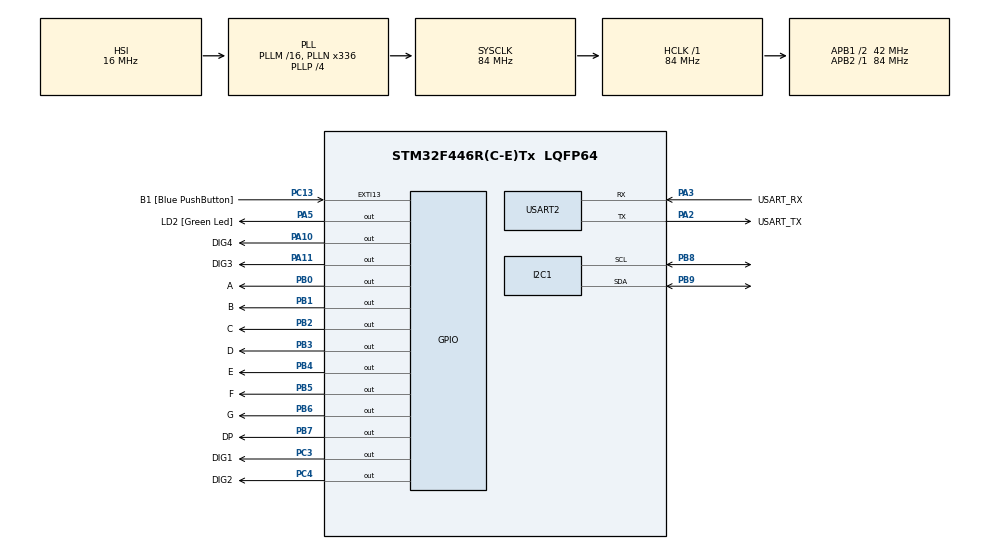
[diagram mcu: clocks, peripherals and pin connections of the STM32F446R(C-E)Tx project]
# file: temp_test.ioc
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Mcu.Family=STM32F4
Mcu.Name=STM32F446R(C-E)Tx
Mcu.Package=LQFP64
NVIC.PriorityGroup=NVIC_PRIORITYGROUP_0
PA10.GPIO_Label=DIG4
PA10.Signal=GPIO_Output
PA11.GPIO_Label=DIG3
PA11.Signal=GPIO_Output
PA13.GPIO_Label=TMS
PA13.Mode=Serial_Wire
PA13.Signal=SYS_JTMS-SWDIO
PA14.GPIO_Label=TCK
PA14.Mode=Serial_Wire
PA14.Signal=SYS_JTCK-SWCLK
PA2.GPIO_Label=USART_TX
PA2.Mode=Asynchronous
PA2.Signal=USART2_TX
PA3.GPIO_Label=USART_RX
PA3.Mode=Asynchronous
PA3.Signal=USART2_RX
PA5.GPIO_Label=LD2 [Green Led]
PA5.Signal=GPIO_Output
PB0.GPIO_Label=A
PB0.Signal=GPIO_Output
PB1.GPIO_Label=B
PB1.Signal=GPIO_Output
PB2.GPIO_Label=C
PB2.Signal=GPIO_Output
PB3.GPIO_Label=D
PB3.Signal=GPIO_Output
PB4.GPIO_Label=E
PB4.Signal=GPIO_Output
PB5.GPIO_Label=F
PB5.Signal=GPIO_Output
PB6.GPIO_Label=G
PB6.Signal=GPIO_Output
PB7.GPIO_Label=DP
PB7.Signal=GPIO_Output
PB8.Mode=I2C
PB8.Signal=I2C1_SCL
PB9.Mode=I2C
PB9.Signal=I2C1_SDA
PC13.GPIO_Label=B1 [Blue PushButton]
PC13.GPIO_ModeDefaultEXTI=GPIO_MODE_IT_FALLING
PC13.Signal=GPXTI13
PC14-OSC32_IN.Mode=LSE-External-Oscillator
PC14-OSC32_IN.Signal=RCC_OSC32_IN
PC15-OSC32_OUT.Mode=LSE-External-Oscillator
PC15-OSC32_OUT.Signal=RCC_OSC32_OUT
PC3.GPIO_Label=DIG1
PC3.Signal=GPIO_Output
PC4.GPIO_Label=DIG2
PC4.Signal=GPIO_Output
PH0-OSC_IN.Mode=HSE-External-Oscillator
PH0-OSC_IN.Signal=RCC_OSC_IN
PH1-OSC_OUT.Mode=HSE-External-Oscillator
PH1-OSC_OUT.Signal=RCC_OSC_OUT
ProjectManager.HeapSize=0x200
ProjectManager.StackSize=0x400
ProjectManager.TargetToolchain=STM32CubeIDE
RCC.48MHZClocksFreq_Value=84000000
RCC.AHBFreq_Value=84000000
RCC.APB1CLKDivider=RCC_HCLK_DIV2
RCC.APB1Freq_Value=42000000
RCC.APB1TimFreq_Value=84000000
RCC.APB2Freq_Value=84000000
RCC.APB2TimFreq_Value=84000000
RCC.CortexFreq_Value=84000000
RCC.FLatency-AdvancedSettings=FLASH_LATENCY_2
RCC.HCLKFreq_Value=84000000
RCC.HSE_VALUE=8000000
RCC.HSI_VALUE=16000000
RCC.PLLN=336
RCC.PLLP=RCC_PLLP_DIV4
RCC.SYSCLKFreq_VALUE=84000000
RCC.SYSCLKSource=RCC_SYSCLKSOURCE_PLLCLK
RCC.USBFreq_Value=168000000
RCC.VCOOutputFreq_Value=336000000
USART2.VirtualMode=VM_ASYNC
board=NUCLEO-F446RE

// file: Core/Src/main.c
/* USER CODE BEGIN Header */
/**
  ******************************************************************************
  * @file           : main.c
  * @brief          : Main program body
  ******************************************************************************
  * @attention
  *
  * Copyright (c) 2024 STMicroelectronics.
  * All rights reserved.
  *
  * This software is licensed under terms that can be found in the LICENSE file
  * in the root directory of this software component.
  * If no LICENSE file comes with this software, it is provided AS-IS.
  *
  ******************************************************************************
  */
/* USER CODE END Header */
#include "main.h"

I2C_HandleTypeDef hi2c1;

UART_HandleTypeDef huart2;

void SystemClock_Config(void);
static void MX_GPIO_Init(void);
static void MX_USART2_UART_Init(void);
static void MX_I2C1_Init(void);

/* USER CODE BEGIN CODE */ //LM75A SETUP
#define LM75A_ADDR 0X4C
#define PLUS 1
#define MINUS 0
#define DIGIT_PLUS 10
#define DIGIT_MINUS 11
#define DECIMAL_FIVE 1
#define DECIMAL_ZERO 0
#define DOT 1
#define NOT_DOT 0
#define I2C_WRITE 0
#define I2C_READ 1
#define LM75A_CONFIGURATTION_REG_ADDR 0X01
#define LM75A_TEMPERATURE_REG_ADDR 0X00

/* USER CODE BEGIN 0 */
char number[] = {0x3f, 0x06, 0x5b, 0x4f, 0x66, 0x6d, 0x7d, 0x27, 0x7f, 0x6f, 0X00, 0X40};
uint8_t i2c1_buffer[2]; // write and read buffer
int temperature;        // temp memory
uint32_t count = 0;
void fnd_display(int num, int position, int time_ms, int dot_flag)
{
	int i;
	switch (position) {
	case 3:
		HAL_GPIO_WritePin(DIG1_GPIO_Port, DIG1_Pin, SET);
		HAL_GPIO_WritePin(DIG2_GPIO_Port, DIG2_Pin, RESET);
		HAL_GPIO_WritePin(DIG3_GPIO_Port, DIG3_Pin, RESET);
		HAL_GPIO_WritePin(DIG4_GPIO_Port, DIG4_Pin, RESET);
		break;
	case 2:
		HAL_GPIO_WritePin(DIG1_GPIO_Port, DIG1_Pin, RESET);
		HAL_GPIO_WritePin(DIG2_GPIO_Port, DIG2_Pin, SET);
		HAL_GPIO_WritePin(DIG3_GPIO_Port, DIG3_Pin, RESET);
		HAL_GPIO_WritePin(DIG4_GPIO_Port, DIG4_Pin, RESET);
		break;
	case 1:
		HAL_GPIO_WritePin(DIG1_GPIO_Port, DIG1_Pin, RESET);
		HAL_GPIO_WritePin(DIG2_GPIO_Port, DIG2_Pin, RESET);
		HAL_GPIO_WritePin(DIG3_GPIO_Port, DIG3_Pin, SET);
		HAL_GPIO_WritePin(DIG4_GPIO_Port, DIG4_Pin, RESET);
		break;
	case 0:
		HAL_GPIO_WritePin(DIG1_GPIO_Port, DIG1_Pin, RESET);
		HAL_GPIO_WritePin(DIG2_GPIO_Port, DIG2_Pin, RESET);
		HAL_GPIO_WritePin(DIG3_GPIO_Port, DIG3_Pin, RESET);
		HAL_GPIO_WritePin(DIG4_GPIO_Port, DIG4_Pin, SET);
		break;
	}
  	for (i=0; i<12; i++)
	{
		if((number[num] & (1<<i))!=0)
		{
			switch (i)
			{
			case 0 : HAL_GPIO_WritePin(A_GPIO_Port, A_Pin, GPIO_PIN_SET); break;
			case 1 : HAL_GPIO_WritePin(B_GPIO_Port, B_Pin, GPIO_PIN_SET); break;
			case 2 : HAL_GPIO_WritePin(C_GPIO_Port, C_Pin, GPIO_PIN_SET); break;
			case 3 : HAL_GPIO_WritePin(D_GPIO_Port, D_Pin, GPIO_PIN_SET); break;
			case 4 : HAL_GPIO_WritePin(E_GPIO_Port, E_Pin, GPIO_PIN_SET); break;
			case 5 : HAL_GPIO_WritePin(F_GPIO_Port, F_Pin, GPIO_PIN_SET); break;
			case 6 : HAL_GPIO_WritePin(G_GPIO_Port, G_Pin, GPIO_PIN_SET); break;
			case 7 : HAL_GPIO_WritePin(DP_GPIO_Port, DP_Pin, GPIO_PIN_SET); break;
			}
		}else
			{
				switch(i)
				{
				case 0 : HAL_GPIO_WritePin(A_GPIO_Port, A_Pin, GPIO_PIN_RESET); break;
				case 1 : HAL_GPIO_WritePin(B_GPIO_Port, B_Pin, GPIO_PIN_RESET); break;
				case 2 : HAL_GPIO_WritePin(C_GPIO_Port, C_Pin, GPIO_PIN_RESET); break;
				case 3 : HAL_GPIO_WritePin(D_GPIO_Port, D_Pin, GPIO_PIN_RESET); break;
				case 4 : HAL_GPIO_WritePin(E_GPIO_Port, E_Pin, GPIO_PIN_RESET); break;
				case 5 : HAL_GPIO_WritePin(F_GPIO_Port, F_Pin, GPIO_PIN_RESET); break;
				case 6 : HAL_GPIO_WritePin(G_GPIO_Port, G_Pin, GPIO_PIN_RESET); break;
				case 7 : HAL_GPIO_WritePin(DP_GPIO_Port, DP_Pin, GPIO_PIN_RESET); break;
				}
			}
		}
    if(dot_flag ==DOT)
    HAL_GPIO_WritePin(DP_GPIO_Port, DP_Pin, GPIO_PIN_SET);
	HAL_Delay(time_ms);
	}

/* USER CODE END 0 */

int main(void)
{

  /* USER CODE BEGIN 1 */
  uint32_t curtick = 0, prevTick = 0;
  uint32_t num3, num2, num1, num0;
  /* USER CODE END 1 */

  /* MCU Configuration--------------------------------------------------------*/

  /* Reset of all peripherals, Initializes the Flash interface and the Systick. */
  HAL_Init();

  /* Configure the system clock */
  SystemClock_Config();

  /* Initialize all configured peripherals */
  MX_GPIO_Init();
  MX_USART2_UART_Init();
  MX_I2C1_Init();
  /* USER CODE BEGIN 2 */
  *i2c1_buffer = 0x00;
  HAL_I2C_Mem_Write(&hi2c1, ((LM75A_ADDR << 1) | I2C_WRITE), LM75A_CONFIGURATTION_REG_ADDR, 8, i2c1_buffer, 1, 100);
  HAL_I2C_Mem_Read(&hi2c1, ((LM75A_ADDR << 1) | I2C_WRITE), LM75A_TEMPERATURE_REG_ADDR, 8, i2c1_buffer, 2, 100);

  void display_temperature(uint8_t *buffer);
  /* USER CODE END 2 */

  /* Infinite loop */
  /* USER CODE BEGIN WHILE */
  while (1)
  {
    if(HAL_I2C_Master_Receive(&hi2c1,((LM75A_ADDR<<1)|I2C_WRITE), i2c1_buffer, 2, 100) == HAL_OK)
          display_temperature(i2c1_buffer);

    /* USER CODE END WHILE */
    if (((curtick = HAL_GetTick()) - prevTick) >= 1000)
    {
      prevTick = curtick;
      if (count == 0)
      {
        if (count != 0)
        {
        	count--;
        	count = 0;
        }
      }
      else
    	  count--;
    }
    num3 = count / 1000;         // 1000
    num2 = (count % 1000) / 100; // 100
    num1 = (count % 100) / 10;   // 10
    num0 = count % 10;           // 1
  }
  }

void display_temperature(uint8_t *buffer)
{
    int temp, sign;
    uint8_t decimal;
    temp = (*buffer << 8) | *(buffer + 1);
    if ((temp & (1 << 15)))
    {
        sign = MINUS;
        temp = (~temp & 0x7FE0) + 0x20;
    }
    else
    {
        sign = PLUS;
    }

    decimal = (temp & (1 << 7)) ? DECIMAL_ZERO : DECIMAL_FIVE; // 소수 부분 설정

    temp >>= 7; // 7 비트만큼 오른쪽으로 시프트하여 정수부분만 남기기

    // 정수부분과 소수부분 나누기
    int integer_part = temp >> 1;
    int fractional_part = (temp & 0x01) * 5; // 소수 부분은 마지막 비트에 있으므로 1 비트만큼의 값을 곱하여 계산

    // 온도를 표시
    if (sign == PLUS)
        fnd_display(DIGIT_PLUS, 3, 4, NOT_DOT);
    else
        fnd_display(DIGIT_MINUS, 3, 4, NOT_DOT);

    fnd_display(integer_part / 10, 2, 4, NOT_DOT); // 십의 자리 표시
    fnd_display(integer_part % 10, 1, 4, DOT);     // 일의 자리 표시

    // 소수 부분을 표시
    fnd_display(fractional_part, 0, 4, NOT_DOT);
}

void SystemClock_Config(void)
{
  RCC_OscInitTypeDef RCC_OscInitStruct = {0};
  RCC_ClkInitTypeDef RCC_ClkInitStruct = {0};

  /** Configure the main internal regulator output voltage
  */
  __HAL_RCC_PWR_CLK_ENABLE();
  __HAL_PWR_VOLTAGESCALING_CONFIG(PWR_REGULATOR_VOLTAGE_SCALE3);

  /** Initializes the RCC Oscillators according to the specified parameters
  * in the RCC_OscInitTypeDef structure.
  */
  RCC_OscInitStruct.OscillatorType = RCC_OSCILLATORTYPE_HSI;
  RCC_OscInitStruct.HSIState = RCC_HSI_ON;
  RCC_OscInitStruct.HSICalibrationValue = RCC_HSICALIBRATION_DEFAULT;
  RCC_OscInitStruct.PLL.PLLState = RCC_PLL_ON;
  RCC_OscInitStruct.PLL.PLLSource = RCC_PLLSOURCE_HSI;
  RCC_OscInitStruct.PLL.PLLM = 16;
  RCC_OscInitStruct.PLL.PLLN = 336;
  RCC_OscInitStruct.PLL.PLLP = RCC_PLLP_DIV4;
  RCC_OscInitStruct.PLL.PLLQ = 2;
  RCC_OscInitStruct.PLL.PLLR = 2;
  if (HAL_RCC_OscConfig(&RCC_OscInitStruct) != HAL_OK)
  {
    Error_Handler();
  }

  /** Initializes the CPU, AHB and APB buses clocks
  */
  RCC_ClkInitStruct.ClockType = RCC_CLOCKTYPE_HCLK|RCC_CLOCKTYPE_SYSCLK
                              |RCC_CLOCKTYPE_PCLK1|RCC_CLOCKTYPE_PCLK2;
  RCC_ClkInitStruct.SYSCLKSource = RCC_SYSCLKSOURCE_PLLCLK;
  RCC_ClkInitStruct.AHBCLKDivider = RCC_SYSCLK_DIV1;
  RCC_ClkInitStruct.APB1CLKDivider = RCC_HCLK_DIV2;
  RCC_ClkInitStruct.APB2CLKDivider = RCC_HCLK_DIV1;

  if (HAL_RCC_ClockConfig(&RCC_ClkInitStruct, FLASH_LATENCY_2) != HAL_OK)
  {
    Error_Handler();
  }
}

static void MX_I2C1_Init(void)
{

  hi2c1.Instance = I2C1;
  hi2c1.Init.ClockSpeed = 100000;
  hi2c1.Init.DutyCycle = I2C_DUTYCYCLE_2;
  hi2c1.Init.OwnAddress1 = 0;
  hi2c1.Init.AddressingMode = I2C_ADDRESSINGMODE_7BIT;
  hi2c1.Init.DualAddressMode = I2C_DUALADDRESS_DISABLE;
  hi2c1.Init.OwnAddress2 = 0;
  hi2c1.Init.GeneralCallMode = I2C_GENERALCALL_DISABLE;
  hi2c1.Init.NoStretchMode = I2C_NOSTRETCH_DISABLE;
  if (HAL_I2C_Init(&hi2c1) != HAL_OK)
  {
    Error_Handler();
  }

}

static void MX_USART2_UART_Init(void)
{

  huart2.Instance = USART2;
  huart2.Init.BaudRate = 115200;
  huart2.Init.WordLength = UART_WORDLENGTH_8B;
  huart2.Init.StopBits = UART_STOPBITS_1;
  huart2.Init.Parity = UART_PARITY_NONE;
  huart2.Init.Mode = UART_MODE_TX_RX;
  huart2.Init.HwFlowCtl = UART_HWCONTROL_NONE;
  huart2.Init.OverSampling = UART_OVERSAMPLING_16;
  if (HAL_UART_Init(&huart2) != HAL_OK)
  {
    Error_Handler();
  }

}

static void MX_GPIO_Init(void)
{
  GPIO_InitTypeDef GPIO_InitStruct = {0};

  /* GPIO Ports Clock Enable */
  __HAL_RCC_GPIOC_CLK_ENABLE();
  __HAL_RCC_GPIOH_CLK_ENABLE();
  __HAL_RCC_GPIOA_CLK_ENABLE();
  __HAL_RCC_GPIOB_CLK_ENABLE();

  /*Configure GPIO pin Output Level */
  HAL_GPIO_WritePin(GPIOC, DIG1_Pin|DIG2_Pin, GPIO_PIN_RESET);

  /*Configure GPIO pin Output Level */
  HAL_GPIO_WritePin(GPIOA, LD2_Pin|DIG4_Pin|DIG3_Pin, GPIO_PIN_RESET);

  /*Configure GPIO pin Output Level */
  HAL_GPIO_WritePin(GPIOB, A_Pin|B_Pin|C_Pin|D_Pin
                          |E_Pin|F_Pin|G_Pin|DP_Pin, GPIO_PIN_RESET);

  /*Configure GPIO pin : B1_Pin */
  GPIO_InitStruct.Pin = B1_Pin;
  GPIO_InitStruct.Mode = GPIO_MODE_IT_FALLING;
  GPIO_InitStruct.Pull = GPIO_NOPULL;
  HAL_GPIO_Init(B1_GPIO_Port, &GPIO_InitStruct);

  /*Configure GPIO pins : DIG1_Pin DIG2_Pin */
  GPIO_InitStruct.Pin = DIG1_Pin|DIG2_Pin;
  GPIO_InitStruct.Mode = GPIO_MODE_OUTPUT_PP;
  GPIO_InitStruct.Pull = GPIO_NOPULL;
  GPIO_InitStruct.Speed = GPIO_SPEED_FREQ_LOW;
  HAL_GPIO_Init(GPIOC, &GPIO_InitStruct);

  /*Configure GPIO pins : LD2_Pin DIG4_Pin DIG3_Pin */
  GPIO_InitStruct.Pin = LD2_Pin|DIG4_Pin|DIG3_Pin;
  GPIO_InitStruct.Mode = GPIO_MODE_OUTPUT_PP;
  GPIO_InitStruct.Pull = GPIO_NOPULL;
  GPIO_InitStruct.Speed = GPIO_SPEED_FREQ_LOW;
  HAL_GPIO_Init(GPIOA, &GPIO_InitStruct);

  /*Configure GPIO pins : A_Pin B_Pin C_Pin D_Pin
                           E_Pin F_Pin G_Pin DP_Pin */
  GPIO_InitStruct.Pin = A_Pin|B_Pin|C_Pin|D_Pin
                          |E_Pin|F_Pin|G_Pin|DP_Pin;
  GPIO_InitStruct.Mode = GPIO_MODE_OUTPUT_PP;
  GPIO_InitStruct.Pull = GPIO_NOPULL;
  GPIO_InitStruct.Speed = GPIO_SPEED_FREQ_LOW;
  HAL_GPIO_Init(GPIOB, &GPIO_InitStruct);

}

void Error_Handler(void)
{
  __disable_irq();
  while (1)
  {
  }
}
